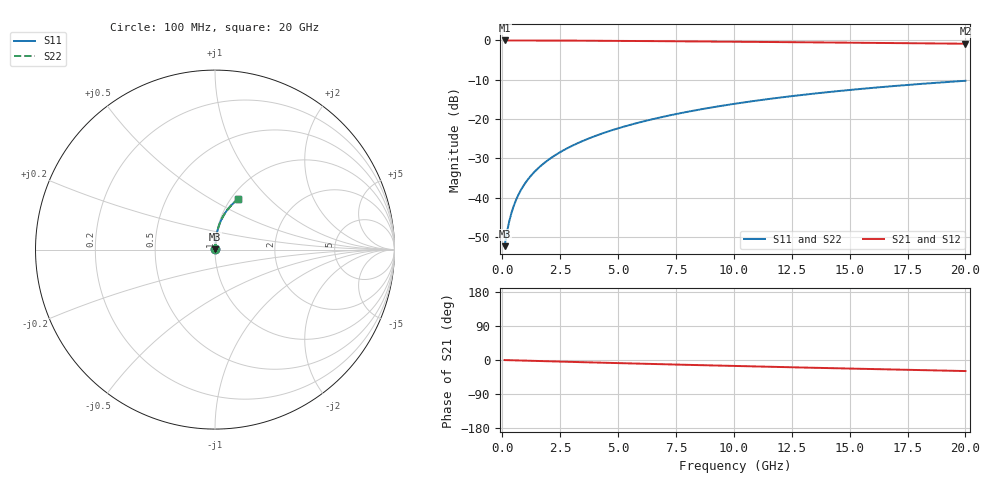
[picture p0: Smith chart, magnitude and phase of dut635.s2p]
! Touchstone file exported from HFSS 2024.1.0
!  File:  C:/UserFiles/LocalFiles/RDL_TSV_Batchsim/temp_RDL_top_635_1779780713.aedt
!  Generated:  03:33:48 PM May 26, 2026
!  Design:  RDL_top
!  Project:  temp_RDL_top_635_1779780713
!  Setup:  Setup1
!  Solution:  Sweep
! Variables:
!  dtsv = 10.80580581um
!  hbump = 3um
!  htsv = 69.44um
!  ldown = 100um
!  lrdl = 390.05um
!  p = 40
!  p1 = 48.03um
!  rhole = 1um
!  t = 450um
!  tdown = 3.915915916um
!  trdl = 4.65um
!  wdown = 15.38538539um
!  wrdl = 17.79um
# GHz S MA R 50.000000
! Terminal data exported
! Port[1] = Box2_T1
! Port[2] = Box2_T2
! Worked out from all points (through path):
!   200 points, 100 MHz to 20 GHz, reference 50 ohm
!   highest |S21| = -0.02 dB at 100 MHz (marker M1); lowest = -0.8 dB at 20 GHz (marker M2)
!   group delay of S21, straight-line fit = 4.02 ps
!   lowest |S11| = -52.3 dB at 100 MHz (marker M3), VSWR 1.00, Z = 50.2 + j0.161 ohm
!   |S11| at or under -10 dB: start of sweep to end of sweep
!   |S22| runs from -52.3 to -10.3 dB; largest |S21 - S12| = 3.3e-15
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0.1  0.002416 41.7  0.9982 -0.2  0.9982 -0.2  0.002416 41.7
! Gamma 0 0 0 0
! Port Impedance 50 0 50 0
0.2  0.003623 60.8  0.9981 -0.3  0.9981 -0.3  0.003623 60.8
0.3  0.005012 69.4  0.998 -0.5  0.998 -0.5  0.005011 69.4
0.4  0.006465 74.1  0.9979 -0.7  0.9979 -0.7  0.006464 74.1
0.5  0.007946 76.9  0.9978 -0.9  0.9978 -0.9  0.007945 76.9
0.6  0.00944 78.7  0.9977 -1.0  0.9977 -1.0  0.00944 78.7
0.8  0.01244 81.0  0.9975 -1.4  0.9975 -1.4  0.01244 81.0
1.1  0.01695 82.7  0.9971 -1.9  0.9971 -1.9  0.01695 82.7
1.5  0.02295 83.8  0.9966 -2.5  0.9966 -2.5  0.02295 83.8
1.8  0.02744 84.2  0.996 -3.0  0.996 -3.0  0.02744 84.2
2.1  0.03193 84.5  0.9954 -3.5  0.9954 -3.5  0.03193 84.5
2.7  0.04093 84.8  0.9939 -4.5  0.9939 -4.5  0.04093 84.8
3.5  0.05303 84.8  0.9915 -5.8  0.9915 -5.8  0.05303 84.8
4.2  0.06375 84.6  0.989 -7.0  0.989 -7.0  0.06374 84.6
5  0.07613 84.2  0.9859 -8.2  0.9859 -8.2  0.07612 84.1
5.9  0.09024 83.5  0.9821 -9.6  0.9821 -9.6  0.09022 83.5
6.8  0.1045 82.7  0.978 -11.0  0.978 -11.0  0.1045 82.7
8.4  0.1301 81.0  0.9703 -13.4  0.9703 -13.4  0.1301 81.0
10.1  0.1574 79.0  0.9618 -15.8  0.9618 -15.8  0.1573 79.0
13.4  0.2096 74.7  0.9444 -20.5  0.9444 -20.5  0.2096 74.7
16.7  0.2597 70.1  0.9262 -24.9  0.9262 -24.9  0.2596 70.1
20  0.3066 65.7  0.9072 -29.2  0.9072 -29.2  0.3065 65.7
